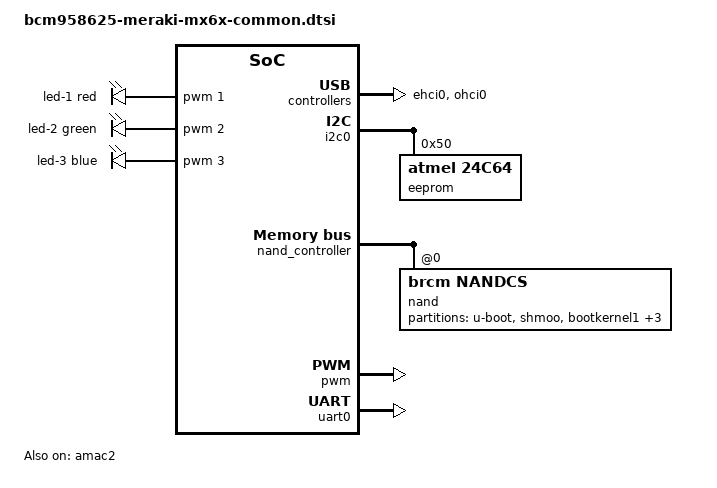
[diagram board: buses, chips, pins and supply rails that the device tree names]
// SPDX-License-Identifier: GPL-2.0-or-later OR MIT
/*
 * Common Bindings for Cisco Meraki MX64 (Kingpin) and MX65 (Alamo) devices.
 *
 * Copyright (C) 2020-2021 Matthew Hagan <mnhagan88@gmail.com>
 */

#include "bcm-nsp.dtsi"
#include <dt-bindings/gpio/gpio.h>
#include <dt-bindings/input/input.h>
#include <dt-bindings/leds/common.h>

/ {
	pwm-leds {
		compatible = "pwm-leds";

		led-1 {
			function = LED_FUNCTION_INDICATOR;
			color = <LED_COLOR_ID_RED>;
			pwms = <&pwm 1 50000>;
			max-brightness = <255>;
		};

		led-2 {
			function = LED_FUNCTION_POWER;
			color = <LED_COLOR_ID_GREEN>;
			pwms = <&pwm 2 50000>;
			max-brightness = <255>;
		};

		led-3 {
			function = LED_FUNCTION_INDICATOR;
			color = <LED_COLOR_ID_BLUE>;
			pwms = <&pwm 3 50000>;
			max-brightness = <255>;
		};
	};
};

&amac2 {
	status = "okay";
	nvmem-cells = <&mac_address>;
	nvmem-cell-names = "mac-address";
};

&ehci0 {
	status = "okay";
};

&i2c0 {
	status = "okay";

	eeprom@50 {
		compatible = "atmel,24c64";
		reg = <0x50>;
		pagesize = <32>;
		read-only;

		nvmem-layout {
			compatible = "fixed-layout";
			#address-cells = <1>;
			#size-cells = <1>;

			mac_address: mac-address@66 {
				reg = <0x66 0x6>;
			};
		};
	};
};

&nand_controller {
	nand@0 {
		compatible = "brcm,nandcs";
		reg = <0>;
		nand-on-flash-bbt;

		#address-cells = <1>;
		#size-cells = <1>;

		nand-ecc-strength = <24>;
		nand-ecc-step-size = <1024>;

		brcm,nand-oob-sector-size = <27>;

		partition@0 {
			label = "u-boot";
			reg = <0x0 0x80000>;
			read-only;
		};

		partition@80000 {
			label = "shmoo";
			reg = <0x80000 0x80000>;
			read-only;
		};

		partition@100000 {
			label = "bootkernel1";
			reg = <0x100000 0x300000>;
		};

		partition@400000 {
			label = "nvram";
			reg = <0x400000 0x100000>;
		};

		partition@500000 {
			label = "bootkernel2";
			reg = <0x500000 0x300000>;
		};

		partition@800000 {
			label = "ubi";
			reg = <0x800000 0x3f700000>;
		};
	};
};

&ohci0 {
	status = "okay";
};

&pinctrl {
	pinctrl-names = "default";
	pinctrl-0 = <&pwm_leds>;

	pwm_leds: pwm_leds {
		function = "pwm";
		groups = "pwm1_grp", "pwm2_grp", "pwm3_grp";
	};
};

&pwm {
	status = "okay";
	#pwm-cells = <2>;
};

&uart0 {
	clock-frequency = <62500000>;
	status = "okay";
};
